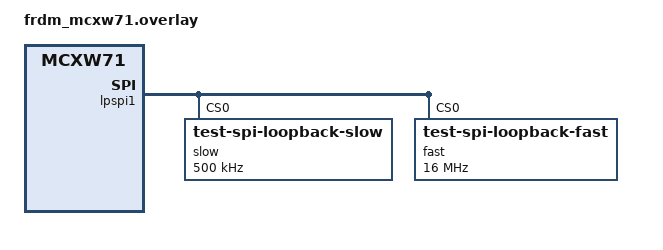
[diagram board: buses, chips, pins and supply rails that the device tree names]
/*
 * Copyright 2023 NXP
 *
 * SPDX-License-Identifier: Apache-2.0
 */

&lpspi1 {
	slow@0 {
		compatible = "test-spi-loopback-slow";
		reg = <0>;
		spi-max-frequency = <500000>;
		spi-cs-setup-delay-ns = <1000>;
		spi-cs-hold-delay-ns = <1000>;
		spi-interframe-delay-ns = <1000>;
	};
	fast@0 {
		compatible = "test-spi-loopback-fast";
		reg = <0>;
		spi-max-frequency = <16000000>;
		spi-cs-setup-delay-ns = <200>;
		spi-cs-hold-delay-ns = <200>;
		spi-interframe-delay-ns = <100>;
	};

};
